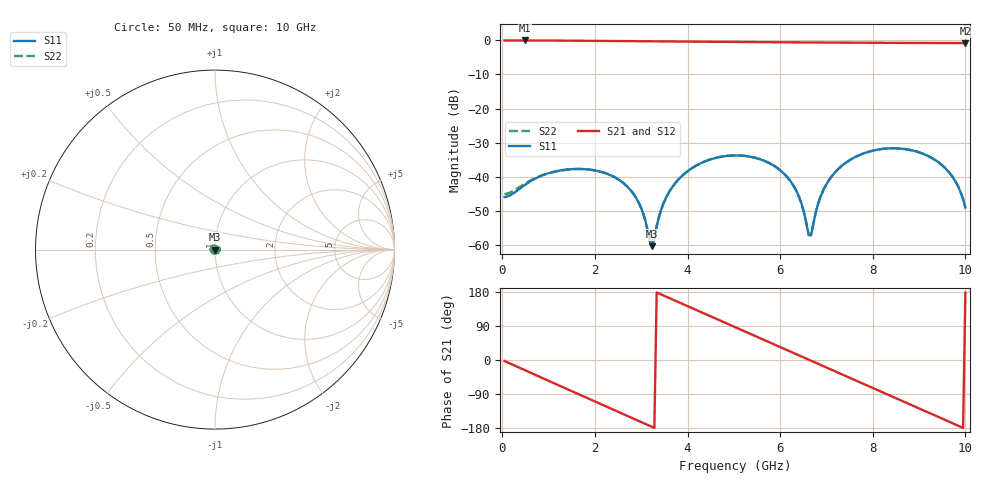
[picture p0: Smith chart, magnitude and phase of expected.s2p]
! Open_Analysis openEMS 0.37.0; problem microstrip_thru_25mm_lumped
! EMProblem key em1:placeholder
! Port[1] = P1
! Port[2] = P2
# HZ S RI R 50
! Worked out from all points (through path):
!   201 points, 50 MHz to 10 GHz, reference 50 ohm
!   highest |S21| = -0.09 dB at 497.8 MHz (marker M1); lowest = -0.9 dB at 10 GHz (marker M2)
!   group delay of S21, straight-line fit = 150 ps
!   lowest |S11| = -60.2 dB at 3.234 GHz (marker M3), VSWR 1.00, Z = 50.1 + j0.0491 ohm
!   |S11| at or under -10 dB: start of sweep to end of sweep
!   |S22| runs from -60.2 to -31.6 dB; largest |S21 - S12| = 0.0013
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5e7  -0.00496 0.00106  0.9876 -0.0478  0.9889 -0.048  -0.00549 0.00117
4.9775e8  0.000681 0.0077  0.8784 -0.4565  0.878 -0.4573  0.000842 0.00802
1.1445e9  0.00948 0.00747  0.4505 -0.8772  0.4505 -0.8769  0.00948 0.00735
1.7415e9  0.0128 0.00254  -0.0916 -0.975  -0.0915 -0.975  0.0128 0.00258
2.7365e9  0.0058 -0.00357  -0.8332 -0.4913  -0.8332 -0.4913  0.0058 -0.00359
2.98525e9  0.00295 -0.00223  -0.9219 -0.2825  -0.9219 -0.2825  0.00294 -0.00223
3.234e9  0.000845 0.00049  -0.9593 -0.0596  -0.9593 -0.0596  0.00084 0.000494
3.38325e9  0.00021 0.00261  -0.9564 0.0757  -0.9563 0.0756  0.000209 0.00261
3.632e9  0.000494 0.00648  -0.9096 0.2952  -0.9096 0.2952  0.000497 0.00648
3.98025e9  0.00383 0.0112  -0.7622 0.5704  -0.7622 0.5705  0.00383 0.0112
5.025e9  0.0197 0.00631  0.0526 0.9386  0.0526 0.9386  0.0197 0.00631
6.02e9  0.0103 -0.00664  0.779 0.5088  0.779 0.5088  0.0103 -0.00664
6.36825e9  0.00417 -0.00417  0.8985 0.2302  0.8985 0.2302  0.00417 -0.00417
6.617e9  0.00142 -0.000106  0.9253 0.0154  0.9253 0.0154  0.00142 -0.000105
6.7165e9  0.000908 0.00186  0.9219 -0.0711  0.9219 -0.0711  0.000909 0.00186
6.9155e9  0.00105 0.00598  0.8911 -0.2412  0.8911 -0.2412  0.00105 0.00598
7.26375e9  0.00499 0.0123  0.7637 -0.514  0.7637 -0.514  0.00499 0.0123
7.811e9  0.0169 0.0145  0.4092 -0.8203  0.4092 -0.8203  0.0169 0.0145
8.35825e9  0.0257 0.00531  -0.0486 -0.9119  -0.0486 -0.9119  0.0257 0.00531
9.45275e9  0.011 -0.0113  -0.8033 -0.4224  -0.8033 -0.4224  0.011 -0.0112
9.801e9  0.00399 -0.00721  -0.8952 -0.1396  -0.8953 -0.1396  0.004 -0.00721
1e10  0.00167 -0.00314  -0.9047 0.0306  -0.9047 0.0306  0.00169 -0.00314
